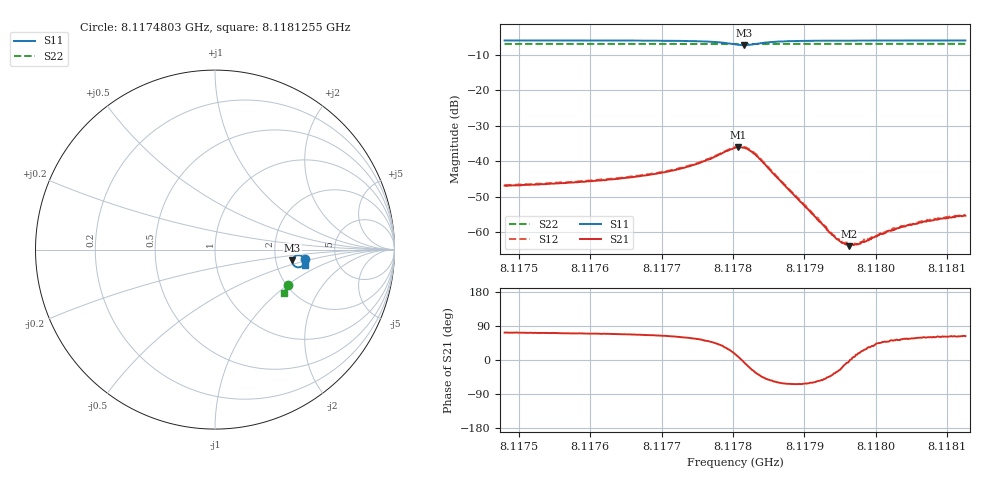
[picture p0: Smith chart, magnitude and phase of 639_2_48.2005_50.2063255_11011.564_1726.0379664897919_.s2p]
#  HZ  S  RI  R  50.00
! Rohde & Schwarz Vector Network Analyzer
! Rohde-Schwarz,ZNB20-2Port,1311601062101988,3.16
! Created: UTC 3/20/2024, 12:04:44 PM
! freq[Hz]  re:S11  im:S11  re:S21  im:S21  re:S12  im:S12  re:S22  im:S22
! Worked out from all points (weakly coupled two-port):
!   401 points, 8.1174803 GHz to 8.1181255 GHz, reference 50 ohm
!   highest |S21| = -36.00 dB at 8.1178077 GHz (marker M1); lowest = -63.9 dB at 8.1179626 GHz (marker M2)
!   lowest |S11| = -7.2 dB at 8.1178158 GHz (marker M3), VSWR 2.54, Z = 124 - j18.3 ohm
!   |S11| at or under -10 dB: nowhere
!   |S22| runs from -6.9 to -6.8 dB; largest |S21 - S12| = 0.00057
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8.11748034e9  0.5041 -0.0528  0.00138 0.00434  0.00141 0.00446  0.406 -0.1998
8.1175884e9  0.5021 -0.0639  0.00173 0.00487  0.00185 0.00499  0.4028 -0.2069
8.11764323e9  0.5002 -0.0704  0.00214 0.00535  0.00221 0.00543  0.401 -0.2107
8.11769645e9  0.4967 -0.0788  0.00295 0.00617  0.00301 0.00634  0.3993 -0.2142
8.11774806e9  0.4872 -0.0908  0.00512 0.00756  0.00523 0.00776  0.3973 -0.2176
8.11778515e9  0.4623 -0.099  0.0104 0.008  0.0107 0.00798  0.3949 -0.2198
8.1178029e9  0.4385 -0.0865  0.015 0.00422  0.0153 0.00438  0.3936 -0.2201
8.11780773e9  0.4334 -0.0778  0.0157 0.00223  0.016 0.00228  0.3933 -0.22
8.1178158e9  0.4312 -0.0599  0.0155 -0.00183  0.0159 -0.0018  0.3931 -0.2196
8.11782386e9  0.4388 -0.0433  0.0132 -0.00508  0.0137 -0.00527  0.3934 -0.2194
8.11783515e9  0.4572 -0.0321  0.00916 -0.00705  0.00933 -0.00721  0.3941 -0.2197
8.11786418e9  0.4875 -0.0397  0.00284 -0.00487  0.0029 -0.00498  0.3945 -0.2222
8.11791095e9  0.4985 -0.0569  0.000906 -0.00158  0.000951 -0.00163  0.3934 -0.2259
8.11793514e9  0.4997 -0.0627  0.000715 -0.000685  0.00075 -0.000746  0.3924 -0.2277
8.11794804e9  0.5 -0.0652  0.000697 -0.000365  0.000712 -0.000373  0.3922 -0.2285
8.1179545e9  0.5001 -0.0663  0.000686 -0.0002  0.000686 -0.000233  0.3918 -0.2289
8.11796256e9  0.5002 -0.0677  0.000639 -4.07e-05  0.000679 -7.36e-08  0.3915 -0.2294
8.11797062e9  0.5004 -0.069  0.000673 0.000103  0.000685 0.00012  0.3914 -0.2299
8.11798675e9  0.5003 -0.0714  0.00066 0.000366  0.000694 0.000354  0.3907 -0.2309
8.11801901e9  0.5001 -0.0757  0.000695 0.000806  0.000726 0.000789  0.3897 -0.2331
8.11806416e9  0.4998 -0.0809  0.000726 0.00117  0.00077 0.00123  0.3882 -0.236
8.11812545e9  0.499 -0.0872  0.000781 0.00153  0.000783 0.00158  0.3859 -0.2399
